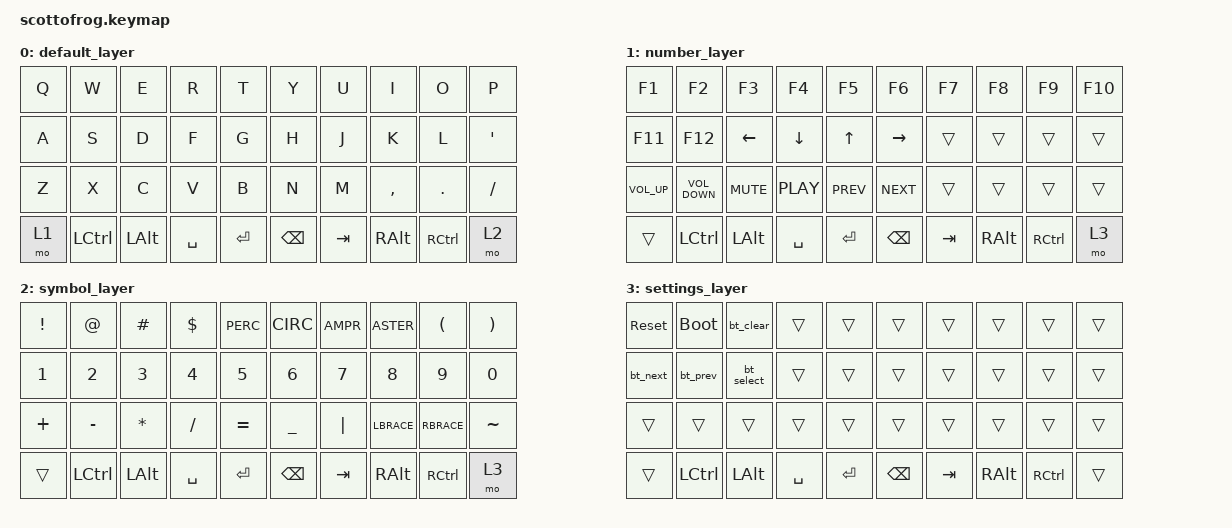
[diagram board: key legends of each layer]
#include <behaviors.dtsi>
#include <dt-bindings/zmk/keys.h>
#include <dt-bindings/zmk/bt.h>

#define DEFAULT 0
#define NUMBER 1
#define SYMBOL 2
#define SETTINGS 3

#define COMBO_TIMEOUT 50

/ {
    combos {
        compatible = "zmk,combos";

        // Meta combos
        meta_settings_combo {
            timeout-ms = <50>;
            key-positions = <16 17 18>;
            bindings = <&mo SETTINGS>;
        };

        meta_lock_combo {
            timeout-ms = <50>;
            key-positions = <15 17 19>;
            bindings = <&tog LOCK>;
        };

        // Letter combos
        letters_tab_combo {
            timeout-ms = <COMBO_TIMEOUT>;
            key-positions = <19 4>;
            bindings = <&kp TAB>;
            layers = <DEFAULT>;
        };        
    };
 
    keymap {
        compatible = "zmk,keymap";

        default_layer {
            bindings = <
            &kp Q     &kp W     &kp E     &kp R     &kp T     &kp Y     &kp U     &kp I     &kp O     &kp P
            &kp A     &kp S     &kp D     &kp F     &kp G     &kp H     &kp J     &kp K     &kp L     &kp SQT
            &kp Z     &kp X     &kp C     &kp V     &kp B     &kp N     &kp M     &kp COMMA &kp DOT   &kp SLASH
            &mo 1     &kp LCTRL &kp LALT  &kp SPC   &kp RET   &kp BSPC  &kp TAB   &kp RALT  &kp RCTRL &mo 2

                        >;
        };

        number_layer {
            bindings = <
            &kp F1    &kp F2    &kp F3    &kp F4    &kp F5    &kp F6    &kp F7    &kp F8    &kp F9    &kp F10
            &kp F11   &kp F12   &kp LEFT  &kp DOWN  &kp UP    &kp RIGHT &trans    &trans    &trans    &trans
            &kp VOL_UP &kp VOL_DOWN &kp MUTE &kp PLAY &kp PREV &kp NEXT &trans    &trans    &trans    &trans
            &trans    &kp LCTRL &kp LALT  &kp SPC   &kp RET   &kp BSPC  &kp TAB   &kp RALT  &kp RCTRL &mo 3
            >;
        }; 

        symbol_layer {
            bindings = <
            &kp EXCL  &kp AT    &kp HASH  &kp DOLLAR &kp PERC  &kp CIRC  &kp AMPR  &kp ASTER  &kp LPAR  &kp RPAR
            &kp 1     &kp 2     &kp 3     &kp 4     &kp 5     &kp 6     &kp 7     &kp 8     &kp 9     &kp 0
            &kp PLUS  &kp MINUS &kp STAR  &kp SLASH &kp EQUAL &kp UNDER &kp PIPE  &kp LBRACE &kp RBRACE &kp TILDE
            &trans    &kp LCTRL &kp LALT  &kp SPC   &kp RET   &kp BSPC  &kp TAB   &kp RALT  &kp RCTRL &mo 3
            >;
        }; 
        
        settings_layer {
            bindings = <
            &sys_reset    &bootloader &bt_clear &trans &trans &trans &trans &trans &trans &trans
            &bt_next  &bt_prev    &bt_select &trans &trans &trans &trans &trans &trans &trans
            &trans    &trans      &trans     &trans &trans &trans &trans &trans &trans &trans
            &trans    &kp LCTRL   &kp LALT   &kp SPC &kp RET &kp BSPC &kp TAB &kp RALT &kp RCTRL &trans
            >;
        };

     };
};
